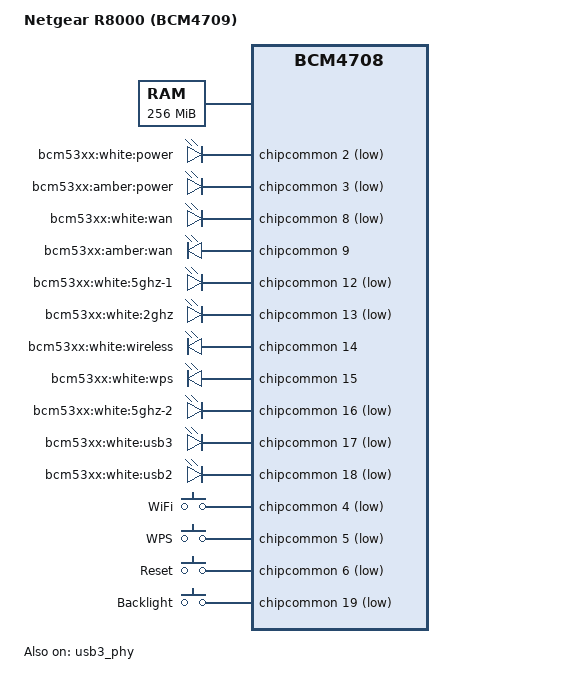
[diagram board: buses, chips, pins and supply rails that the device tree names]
/*
 * Broadcom BCM470X / BCM5301X ARM platform code.
 * DTS for Netgear R8000
 *
 * Copyright (C) 2015 Rafał Miłecki <zajec5@gmail.com>
 *
 * Permission to use, copy, modify, and/or distribute this software for any
 * purpose with or without fee is hereby granted, provided that the above
 * copyright notice and this permission notice appear in all copies.
 *
 * THE SOFTWARE IS PROVIDED "AS IS" AND THE AUTHOR DISCLAIMS ALL WARRANTIES WITH
 * REGARD TO THIS SOFTWARE INCLUDING ALL IMPLIED WARRANTIES OF MERCHANTABILITY
 * AND FITNESS. IN NO EVENT SHALL THE AUTHOR BE LIABLE FOR ANY SPECIAL, DIRECT,
 * INDIRECT, OR CONSEQUENTIAL DAMAGES OR ANY DAMAGES WHATSOEVER RESULTING FROM
 * LOSS OF USE, DATA OR PROFITS, WHETHER IN AN ACTION OF CONTRACT, NEGLIGENCE
 * OR OTHER TORTIOUS ACTION, ARISING OUT OF OR IN CONNECTION WITH THE USE OR
 * PERFORMANCE OF THIS SOFTWARE.
 */

/dts-v1/;

#include "bcm4709.dtsi"
#include "bcm5301x-nand-cs0-bch8.dtsi"

/ {
	compatible = "netgear,r8000", "brcm,bcm4709", "brcm,bcm4708";
	model = "Netgear R8000 (BCM4709)";

	chosen {
		bootargs = "console=ttyS0,115200";
	};

	memory {
		device_type = "memory";
		reg = <0x00000000 0x08000000>,
		      <0x88000000 0x08000000>;
	};

	leds {
		compatible = "gpio-leds";

		power-white {
			label = "bcm53xx:white:power";
			gpios = <&chipcommon 2 GPIO_ACTIVE_LOW>;
			linux,default-trigger = "default-on";
		};

		power-amber {
			label = "bcm53xx:amber:power";
			gpios = <&chipcommon 3 GPIO_ACTIVE_LOW>;
		};

		wan-white {
			label = "bcm53xx:white:wan";
			gpios = <&chipcommon 8 GPIO_ACTIVE_LOW>;
			linux,default-trigger = "default-on";
		};

		wan-amber {
			label = "bcm53xx:amber:wan";
			gpios = <&chipcommon 9 GPIO_ACTIVE_HIGH>;
		};

		5ghz-1 {
			label = "bcm53xx:white:5ghz-1";
			gpios = <&chipcommon 12 GPIO_ACTIVE_LOW>;
		};

		2ghz {
			label = "bcm53xx:white:2ghz";
			gpios = <&chipcommon 13 GPIO_ACTIVE_LOW>;
		};

		wireless {
			label = "bcm53xx:white:wireless";
			gpios = <&chipcommon 14 GPIO_ACTIVE_HIGH>;
		};

		wps {
			label = "bcm53xx:white:wps";
			gpios = <&chipcommon 15 GPIO_ACTIVE_HIGH>;
		};

		5ghz-2 {
			label = "bcm53xx:white:5ghz-2";
			gpios = <&chipcommon 16 GPIO_ACTIVE_LOW>;
		};

		usb3 {
			label = "bcm53xx:white:usb3";
			gpios = <&chipcommon 17 GPIO_ACTIVE_LOW>;
		};

		usb2 {
			label = "bcm53xx:white:usb2";
			gpios = <&chipcommon 18 GPIO_ACTIVE_LOW>;
		};
	};

	gpio-keys {
		compatible = "gpio-keys";
		#address-cells = <1>;
		#size-cells = <0>;

		rfkill {
			label = "WiFi";
			linux,code = <KEY_RFKILL>;
			gpios = <&chipcommon 4 GPIO_ACTIVE_LOW>;
		};

		wps {
			label = "WPS";
			linux,code = <KEY_WPS_BUTTON>;
			gpios = <&chipcommon 5 GPIO_ACTIVE_LOW>;
		};

		restart {
			label = "Reset";
			linux,code = <KEY_RESTART>;
			gpios = <&chipcommon 6 GPIO_ACTIVE_LOW>;
		};

		brightness {
			label = "Backlight";
			linux,code = <KEY_BRIGHTNESS_ZERO>;
			gpios = <&chipcommon 19 GPIO_ACTIVE_LOW>;
		};
	};
};

&pcie0 {
	#address-cells = <3>;
	#size-cells = <2>;

	bridge@0,0,0 {
		reg = <0x0000 0 0 0 0>;

		#address-cells = <3>;
		#size-cells = <2>;

		wifi@0,1,0 {
			reg = <0x0000 0 0 0 0>;
			ieee80211-freq-limit = <5735000 5835000>;
		};
	};
};

&pcie1 {
	#address-cells = <3>;
	#size-cells = <2>;

	bridge@1,0,0 {
		reg = <0x0000 0 0 0 0>;

		#address-cells = <3>;
		#size-cells = <2>;

		bridge@1,1,0 {
			reg = <0x0000 0 0 0 0>;

			#address-cells = <3>;
			#size-cells = <2>;

			bridge@1,2,2 {
				reg = <0x1000 0 0 0 0>;

				#address-cells = <3>;
				#size-cells = <2>;

				wifi@1,4,0 {
					reg = <0x0000 0 0 0 0>;
					ieee80211-freq-limit = <5170000 5730000>;
				};
			};
		};
	};
};

&usb2 {
	vcc-gpio = <&chipcommon 0 GPIO_ACTIVE_HIGH>;
};

&usb3 {
	vcc-gpio = <&chipcommon 0 GPIO_ACTIVE_HIGH>;
};

&usb3_phy {
	status = "okay";
};
